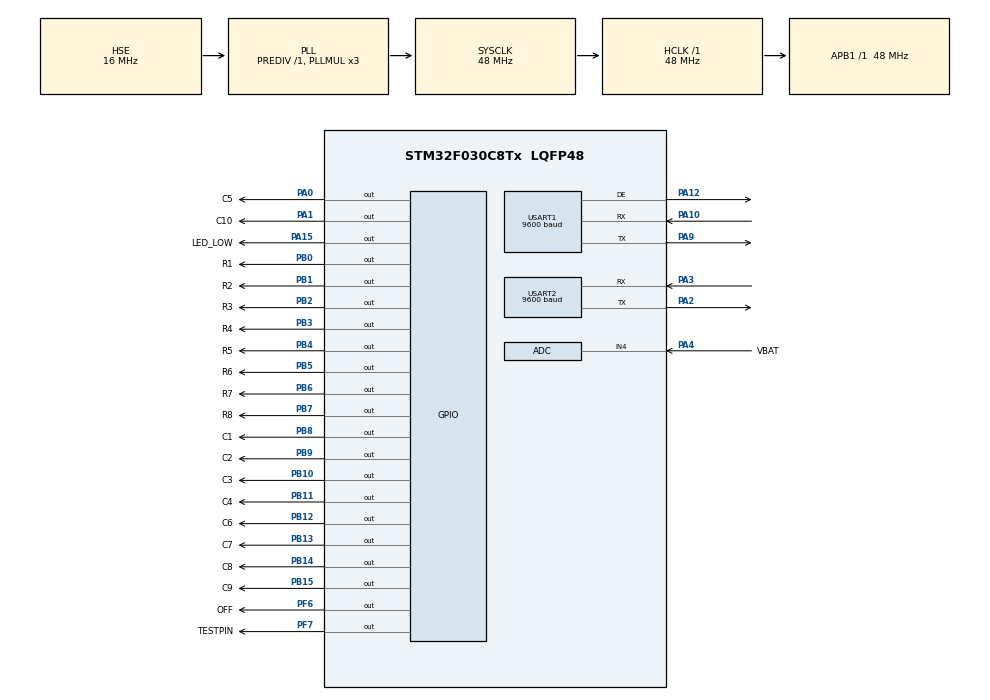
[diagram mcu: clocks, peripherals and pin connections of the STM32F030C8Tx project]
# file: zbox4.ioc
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ADC.ClockPrescaler=ADC_CLOCK_ASYNC_DIV1
ADC.SamplingTime=ADC_SAMPLETIME_239CYCLES_5
Mcu.Family=STM32F0
Mcu.Name=STM32F030C8Tx
Mcu.Package=LQFP48
NVIC.TIM15_IRQn=true\:0\:0\:false\:false\:true\:true\:true\:true
NVIC.TIM3_IRQn=true\:0\:0\:false\:false\:true\:true\:true\:true
NVIC.TIM6_IRQn=true\:0\:0\:false\:false\:true\:true\:true\:true
NVIC.USART1_IRQn=true\:0\:0\:false\:false\:true\:true\:true\:true
NVIC.USART2_IRQn=true\:0\:0\:false\:false\:true\:true\:true\:true
PA0.GPIO_Label=C5
PA0.Signal=GPIO_Output
PA1.GPIO_Label=C10
PA1.Signal=GPIO_Output
PA10.Mode=Asynchronous
PA10.Signal=USART1_RX
PA12.Mode=Hardware Flow Control (RS485)
PA12.Signal=USART1_DE
PA13.Mode=Serial_Wire
PA13.Signal=SYS_SWDIO
PA14.Mode=Serial_Wire
PA14.Signal=SYS_SWCLK
PA15.GPIO_Label=LED_LOW
PA15.Signal=GPIO_Output
PA2.Mode=Asynchronous
PA2.Signal=USART2_TX
PA3.Mode=Asynchronous
PA3.Signal=USART2_RX
PA4.GPIO_Label=VBAT
PA4.Mode=IN4
PA4.Signal=ADC_IN4
PA9.Mode=Asynchronous
PA9.Signal=USART1_TX
PB0.GPIO_Label=R1
PB0.Signal=GPIO_Output
PB1.GPIO_Label=R2
PB1.Signal=GPIO_Output
PB10.GPIO_Label=C3
PB10.Signal=GPIO_Output
PB11.GPIO_Label=C4
PB11.Signal=GPIO_Output
PB12.GPIO_Label=C6
PB12.Signal=GPIO_Output
PB13.GPIO_Label=C7
PB13.Signal=GPIO_Output
PB14.GPIO_Label=C8
PB14.Signal=GPIO_Output
PB15.GPIO_Label=C9
PB15.Signal=GPIO_Output
PB2.GPIO_Label=R3
PB2.Signal=GPIO_Output
PB3.GPIO_Label=R4
PB3.Signal=GPIO_Output
PB4.GPIO_Label=R5
PB4.Signal=GPIO_Output
PB5.GPIO_Label=R6
PB5.Signal=GPIO_Output
PB6.GPIO_Label=R7
PB6.Signal=GPIO_Output
PB7.GPIO_Label=R8
PB7.Signal=GPIO_Output
PB8.GPIO_Label=C1
PB8.Signal=GPIO_Output
PB9.GPIO_Label=C2
PB9.Signal=GPIO_Output
PF0-OSC_IN.Mode=HSE-External-Oscillator
PF0-OSC_IN.Signal=RCC_OSC_IN
PF1-OSC_OUT.Mode=HSE-External-Oscillator
PF1-OSC_OUT.Signal=RCC_OSC_OUT
PF6.GPIO_Label=OFF
PF6.GPIO_ModeDefaultOutputPP=GPIO_MODE_OUTPUT_OD
PF6.PinState=GPIO_PIN_SET
PF6.Signal=GPIO_Output
PF7.GPIO_Label=TESTPIN
PF7.Signal=GPIO_Output
ProjectManager.HeapSize=0x200
ProjectManager.StackSize=0x400
ProjectManager.TargetToolchain=STM32CubeIDE
RCC.AHBFreq_Value=48000000
RCC.APB1Freq_Value=48000000
RCC.APB1TimFreq_Value=48000000
RCC.HCLKFreq_Value=48000000
RCC.HSE_VALUE=16000000
RCC.PLLMUL=RCC_PLL_MUL3
RCC.PLLSourceVirtual=RCC_PLLSOURCE_HSE
RCC.SYSCLKFreq_VALUE=48000000
RCC.SYSCLKSource=RCC_SYSCLKSOURCE_PLLCLK
TIM1.CounterMode=TIM_COUNTERMODE_UP
TIM1.Period=1000
TIM1.Prescaler=480
TIM1.TIM_MasterOutputTrigger=TIM_TRGO_UPDATE
TIM15.Period=10000-1
TIM15.Prescaler=480
TIM15.TIM_MasterOutputTrigger=TIM_TRGO_UPDATE
TIM3.Period=10000-1
TIM3.Prescaler=480
TIM3.TIM_MasterOutputTrigger=TIM_TRGO_UPDATE
TIM6.Period=10-1
TIM6.Prescaler=4800
USART1.BaudRate=9600
USART1.VirtualMode-Asynchronous=VM_ASYNC
USART1.VirtualMode-Hardware\ Flow\ Control\ (RS485)=VM_ASYNC
USART2.BaudRate=9600
USART2.VirtualMode-Asynchronous=VM_ASYNC
VP_TIM15_VS_ClockSourceINT.Mode=Internal
VP_TIM1_VS_ClockSourceINT.Mode=Internal
VP_TIM3_VS_ClockSourceINT.Mode=Internal
VP_TIM6_VS_ClockSourceINT.Mode=Enable_Timer
board=custom

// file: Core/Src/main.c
/* USER CODE BEGIN Header */
/**
  ******************************************************************************
  * @file           : main.c
  * @brief          : Main program body
  ******************************************************************************
  * @attention
  *
  * <h2><center>&copy; Copyright (c) 2023 STMicroelectronics.
  * All rights reserved.</center></h2>
  *
  * This software component is licensed by ST under BSD 3-Clause license,
  * the "License"; You may not use this file except in compliance with the
  * License. You may obtain a copy of the License at:
  *                        opensource.org/licenses/BSD-3-Clause
  *
  ******************************************************************************
  */
/* USER CODE END Header */
#include "main.h"

/* USER CODE BEGIN Includes */
#define NUMZONDES 5//4 или 5, 4 сдвиигает емкости
#define VREF 332 //%100
#define VLOW 290
#define IDLETIME 30 //в минутах
#define FLASH_ADDR_SETTINGS 0x0800F618 //адрес куда будем писать Z (256 байт)
#include "string.h"
#include "stdio.h"
#include <complex.h>
/* USER CODE END Includes */

ADC_HandleTypeDef hadc;

TIM_HandleTypeDef htim1;
TIM_HandleTypeDef htim3;
TIM_HandleTypeDef htim6;
TIM_HandleTypeDef htim15;

UART_HandleTypeDef huart1;
UART_HandleTypeDef huart2;

/* USER CODE BEGIN PV */
volatile uint8_t bCmdFlag = 0, bCmdFlag2 = 0;
volatile uint64_t iOFFTime = IDLETIME*60*1000;//ввремя выключения в мс
volatile uint64_t Now = 0;
int iRes = 0, iCap = 0, iEnable = 0;
uint8_t args;
char str[64];
char str2[64];
int iZIndex;
float fRe, fIm;
typedef struct
{
	float Re;
	float Im;
}TZ;

typedef struct
{
	TZ Z[32];
	uint32_t SGN;
}TSettings;

TSettings Settings;

typedef struct
{
	float Re;
	float Im;
} complex_float;

complex_float cplxf(float complex src)
{
	complex_float res;
	res.Re = crealf(src);
	res.Im = cimagf(src);
	return res;
}
//-------------------------------------------------------------------------------------------
float complex CMPLXF(float re, float im)
{
  return re+im*I;
}

/* USER CODE END PV */

void SystemClock_Config(void);
static void MX_GPIO_Init(void);
static void MX_USART1_UART_Init(void);
static void MX_TIM1_Init(void);
static void MX_TIM3_Init(void);
static void MX_USART2_UART_Init(void);
static void MX_TIM15_Init(void);
static void MX_ADC_Init(void);
static void MX_TIM6_Init(void);

/* USER CODE BEGIN 0 */

//-------------------------------------------------------------------------------------------
void HAL_TIM_PeriodElapsedCallback(TIM_HandleTypeDef *htim)
{
	if(htim->Instance == TIM3) //100ms на завершение команды
	{
		HAL_TIM_Base_Stop_IT(&htim3);
		n_bytes = 0;
	}
	if(htim->Instance == TIM15) //100ms на завершение команды
	{
		HAL_TIM_Base_Stop_IT(&htim15);
		n_bytes2 = 0;
	}
	if(htim->Instance == TIM6)
	{
		Now++;
	}
	//HAL_GPIO_TogglePin(GPIOB, GPIO_PIN_8);
}
//-------------------------------------------------------------------------------------------
int SetR(int R)
{
	HAL_GPIO_WritePin(R1_GPIO_Port, R1_Pin, 0);
	HAL_GPIO_WritePin(R2_GPIO_Port, R2_Pin, 0);
	HAL_GPIO_WritePin(R3_GPIO_Port, R3_Pin, 0);
	HAL_GPIO_WritePin(R4_GPIO_Port, R4_Pin, 0);
	HAL_GPIO_WritePin(R5_GPIO_Port, R5_Pin, 0);
	HAL_GPIO_WritePin(R6_GPIO_Port, R6_Pin, 0);
	HAL_GPIO_WritePin(R7_GPIO_Port, R7_Pin, 0);
	HAL_GPIO_WritePin(R8_GPIO_Port, R8_Pin, 0);

	if(R == 0)
		return 1; //ok
	else if(R == 1)
		HAL_GPIO_WritePin(R1_GPIO_Port, R1_Pin, 1);
	else if(R == 2)
		HAL_GPIO_WritePin(R2_GPIO_Port, R2_Pin, 1);
	else if(R == 3)
		HAL_GPIO_WritePin(R3_GPIO_Port, R3_Pin, 1);
	else if(R == 4)
		HAL_GPIO_WritePin(R4_GPIO_Port, R4_Pin, 1);
	else if(R == 5)
		HAL_GPIO_WritePin(R5_GPIO_Port, R5_Pin, 1);
	else if(R == 6)
		HAL_GPIO_WritePin(R6_GPIO_Port, R6_Pin, 1);
	else if(R == 7)
		HAL_GPIO_WritePin(R7_GPIO_Port, R7_Pin, 1);
	else if(R == 8)
		HAL_GPIO_WritePin(R8_GPIO_Port, R8_Pin, 1);
	else
		return 0; //error

	return 1; //ok
}
//-------------------------------------------------------------------------------------------
int SetC(int Cap)
{
	int C = Cap;
	HAL_GPIO_WritePin(C1_GPIO_Port, C1_Pin, 0);
	HAL_GPIO_WritePin(C2_GPIO_Port, C2_Pin, 0);
	HAL_GPIO_WritePin(C3_GPIO_Port, C3_Pin, 0);
	HAL_GPIO_WritePin(C4_GPIO_Port, C4_Pin, 0);
	HAL_GPIO_WritePin(C5_GPIO_Port, C5_Pin, 0);
	HAL_GPIO_WritePin(C6_GPIO_Port, C6_Pin, 0);
	HAL_GPIO_WritePin(C7_GPIO_Port, C7_Pin, 0);
	HAL_GPIO_WritePin(C8_GPIO_Port, C8_Pin, 0);
	HAL_GPIO_WritePin(C9_GPIO_Port, C9_Pin, 0);
	HAL_GPIO_WritePin(C10_GPIO_Port, C10_Pin, 0);

	if(NUMZONDES==4)
	{
		if(C>4)
			C=C+1;
	}

	if(C == 0)
		return 1; //ok
	else if(C == 1)
		HAL_GPIO_WritePin(C1_GPIO_Port, C1_Pin, 1);
	else if(C == 2)
		HAL_GPIO_WritePin(C2_GPIO_Port, C2_Pin, 1);
	else if(C == 3)
		HAL_GPIO_WritePin(C3_GPIO_Port, C3_Pin, 1);
	else if(C == 4)
		HAL_GPIO_WritePin(C4_GPIO_Port, C4_Pin, 1);
	else if(C == 5)
		HAL_GPIO_WritePin(C5_GPIO_Port, C5_Pin, 1);
	else if(C == 6)
		HAL_GPIO_WritePin(C6_GPIO_Port, C6_Pin, 1);
	else if(C == 7)
		HAL_GPIO_WritePin(C7_GPIO_Port, C7_Pin, 1);
	else if(C == 8)
		HAL_GPIO_WritePin(C8_GPIO_Port, C8_Pin, 1);
	else if(C == 9)
		HAL_GPIO_WritePin(C9_GPIO_Port, C9_Pin, 1);
	else if(C == 10)
		HAL_GPIO_WritePin(C10_GPIO_Port, C10_Pin, 1);
	else
		return 0; //error

	return 1; //ok
}
//-------------------------------------------------------------------------------------------
void LoadSettings(void)
{
	uint32_t addr = FLASH_ADDR_SETTINGS;
	uint32_t sz = sizeof(Settings);
	uint32_t *dataPtr = (uint32_t *)&Settings;
	for (int i = 0; i < sz / 4; i++)
	{
		dataPtr[i] = *(__IO uint32_t*)addr;
		addr += 4;
	}
}
//-------------------------------------------------------------------------------------------
uint8_t SaveSettings(void)
{
	uint32_t addr = FLASH_ADDR_SETTINGS;
	HAL_StatusTypeDef status;
	uint32_t sz = sizeof(Settings);          // замеряем размер структуры
	FLASH_EraseInitTypeDef FlashErase;                     // структура для функции стирания страницы
	uint32_t pageError = 0;                                // переменная для записи информации об ошибках в процессе стирания

	__disable_irq();                                       // запрещаем прерывания
	HAL_FLASH_Unlock();
	FlashErase.TypeErase = FLASH_TYPEERASE_PAGES;          // стирать постранично
	FlashErase.PageAddress = addr;                         // адрес страницы для стирания
	FlashErase.NbPages = sz/1024 + 1;         // считаем количество страниц, чтобы наш массив поместился
	if (HAL_FLASHEx_Erase(&FlashErase, &pageError) != HAL_OK)   // вызов функции стирания
	{
		HAL_FLASH_Lock();                                  // если не смог стереть, то закрыть память и вернуть ошибку
		return HAL_ERROR;
	}

    uint32_t *dataPtr = (uint32_t *)&Settings;          // создаем указатель на нашу структуру и записываем ее кусочками по 32 бита
	for(int i = 0; i < sz/4; i++)            // 4 байта = 32 бита
    {
		status += HAL_FLASH_Program(FLASH_TYPEPROGRAM_WORD, addr, dataPtr[i]);
        addr += 4;                                         // сдвигаем адрес на 4 байта
    }
	__enable_irq();                                        // включаем прерывания обратно
	return status;
}
//-------------------------------------------------------------------------------------------
void CycleC()
{
	uint8_t R = 0;
	uint8_t C = 0;
	static uint8_t i = 0;

	if(NUMZONDES==4) //с пропуском
	{
		if(i++ < 22)
		{
			if(i == 0)
			{
				R = 0;
				C = 0;
			}
			else if(i == 1)
			{
				R = 1;
				C = 1;
			}
			else if(i == 2)
			{
				R = 1;
				C = 2;
			}
			else if(i == 3)
			{
				R = 1;
				C = 3;
			}
			else if(i == 4)
			{
				R = 1;
				C = 4;
			}
			else if(i == 5)
			{
				R = 2;
				C = 4;
			}
			else if(i == 6)
			{
				R = 3;
				C = 4;
			}
			else if(i == 7)
			{
				R = 4;
				C = 4;
			}
			else if(i == 8)
			{
				R = 5;
				C = 4;
			}
			else if(i == 9)
			{
				R = 6;
				C = 4;
			}
			else if(i == 10)
			{
				R = 7;
				C = 4;
			}
			else if(i == 11)
			{
				R = 8;
				C = 4;
			}

			else if(i == 12) //частота 2
			{
				R = 1;
				C = 5;
			}
			else if(i == 13)
			{
				R = 1;
				C = 6;
			}
			else if(i == 14)
			{
				R = 1;
				C = 7;
			}
			else if(i == 15)
			{
				R = 1;
				C = 8;
			}
			else if(i == 16)
			{
				R = 2;
				C = 8;
			}
			else if(i == 17)
			{
				R = 3;
				C = 8;
			}
			else if(i == 18)
			{
				R = 4;
				C = 8;
			}
			else if(i == 19)
			{
				R = 5;
				C = 8;
			}
			else if(i == 20)
			{
				R = 6;
				C = 8;
			}
			else if(i == 21)
			{
				R = 7;
				C = 8;
			}
			else if(i == 22)
			{
				R = 8;
				C = 8;
			}

		}
		else
		{
			R = 0;
			C = 0;
			i = 0;
		}

	}
	else //без пропуска
	{
		if(i++ < 24)
		{
			if(i == 0)
			{
				R = 0;
				C = 0;
			}
			else if(i == 1)
			{
				R = 1;
				C = 1;
			}
			else if(i == 2)
			{
				R = 1;
				C = 2;
			}
			else if(i == 3)
			{
				R = 1;
				C = 3;
			}
			else if(i == 4)
			{
				R = 1;
				C = 4;
			}
			else if(i == 5)
			{
				R = 1;
				C = 5;
			}
			else if(i == 6)
			{
				R = 2;
				C = 4;
			}
			else if(i == 7)
			{
				R = 3;
				C = 4;
			}
			else if(i == 8)
			{
				R = 4;
				C = 4;
			}
			else if(i == 9)
			{
				R = 5;
				C = 4;
			}
			else if(i == 10)
			{
				R = 6;
				C = 4;
			}
			else if(i == 11)
			{
				R = 7;
				C = 4;
			}

			else if(i == 12)
			{
				R = 8;
				C = 4;
			}
			else if(i == 13) //частота 2
			{
				R = 1;
				C = 6;
			}
			else if(i == 14)
			{
				R = 1;
				C = 7;
			}
			else if(i == 15)
			{
				R = 1;
				C = 8;
			}
			else if(i == 16)
			{
				R = 1;
				C = 9;
			}
			else if(i == 17)
			{
				R = 1;
				C = 10;
			}
			else if(i == 18)
			{
				R = 2;
				C = 9;
			}
			else if(i == 19)
			{
				R = 3;
				C = 9;
			}
			else if(i == 20)
			{
				R = 4;
				C = 9;
			}
			else if(i == 21)
			{
				R = 5;
				C = 9;
			}
			else if(i == 22)
			{
				R = 6;
				C = 9;
			}
			else if(i == 23)
			{
				R = 7;
				C = 9;
			}
			else if(i == 24)
			{
				R = 8;
				C = 9;
			}

		}
		else
		{
			R = 0;
			C = 0;
			i = 0;
		}
	}

	SetC(C);
	SetR(R);
}
//-------------------------------------------------------------------------------------------
/* USER CODE END 0 */

int main(void)
{
  /* USER CODE BEGIN 1 */
	uint32_t vbat;
	uint8_t bPressed = 0;
	uint8_t bCycled = 1;
	uint64_t ButtonTime = 0;
	uint32_t adc_value = 0;

  /* USER CODE END 1 */

  /* MCU Configuration--------------------------------------------------------*/

  /* Reset of all peripherals, Initializes the Flash interface and the Systick. */
  HAL_Init();

  /* Configure the system clock */
  SystemClock_Config();

  /* Initialize all configured peripherals */
  MX_GPIO_Init();
  MX_USART1_UART_Init();
  MX_TIM1_Init();
  MX_TIM3_Init();
  MX_USART2_UART_Init();
  MX_TIM15_Init();
  MX_ADC_Init();
  MX_TIM6_Init();
  /* USER CODE BEGIN 2 */

  HAL_TIM_Base_Start(&htim1);
  HAL_TIM_Base_Start_IT(&htim3);
  HAL_TIM_Base_Start_IT(&htim6);
  HAL_TIM_Base_Start_IT(&htim15);

  SetR(0);
  SetC(0);

  HAL_UART_Receive_IT(&huart1, (uint8_t*)&RxBuffer, 1); //по 1 байту
  HAL_UART_Receive_IT(&huart2, (uint8_t*)&RxBuffer2, 1); //по 1 байту

  /* USER CODE END 2 */

  /* Infinite loop */
  /* USER CODE BEGIN WHILE */

LoadSettings();

  iOFFTime = IDLETIME*60*1000;

  while (1)
  {
    /* USER CODE END WHILE */

    /* USER CODE BEGIN 3 */
	adc_value = 0;
	for(uint8_t i=0;i<16;i++)
	{
		HAL_ADC_Start(&hadc);
		HAL_ADC_PollForConversion(&hadc, HAL_MAX_DELAY);
		adc_value += HAL_ADC_GetValue(&hadc);
		HAL_ADC_Stop(&hadc);
	}
	adc_value = adc_value>>4;

	vbat = (adc_value*VREF)>>11;//%2

	if(Now > iOFFTime) //Авто-выкл. после 30 мин простоя
		HAL_GPIO_WritePin(OFF_GPIO_Port, OFF_Pin, 0);
	else
		HAL_GPIO_WritePin(OFF_GPIO_Port, OFF_Pin, 1);

	if(vbat < VLOW) //светодиод LOW BAT
		HAL_GPIO_WritePin(LED_LOW_GPIO_Port, LED_LOW_Pin, 1);
	else
		HAL_GPIO_WritePin(LED_LOW_GPIO_Port, LED_LOW_Pin, 0);

	//кнопка
	if(Now > 500) //время на вкл. питания
	{
		if(adc_value > 3600)
		{
			if(!bPressed)
			{
				bPressed = 1;
				ButtonTime = Now;
			}
			else //было нажато
			{
				if(ButtonTime+50 < Now && !bCycled) //еще раз проверяем (анти-дребезг)
				{
					CycleC();
					iOFFTime = Now + IDLETIME*60*1000;
					ButtonTime = Now+200;
					bCycled = 1;
				}
			}

		}
		else
		{
			bPressed = 0;
			bCycled = 0;
		}
	}

		//обработка команд
	    if(bCmdFlag) //RS-485
	    {
	    	bCmdFlag = 0;
			iOFFTime = Now + IDLETIME*60*1000;
			  if(cmdBuf[0] == 'V' && cmdBuf[1] == 'B' && cmdBuf[2] == 'A' && cmdBuf[3] == 'T') //VBAT
			  {
				  sprintf(str, "VBAT=%d\r\n", (uint16_t)vbat);
				  SendString(str);

				memset(cmdBuf, 0x00, RX_BUFFER_SIZE);
			  }
			  else if(cmdBuf[0] == 'O' && cmdBuf[1] == 'F' && cmdBuf[2] == 'F') //OFF
			  {
				HAL_GPIO_WritePin(OFF_GPIO_Port, OFF_Pin, 0);
				memset(cmdBuf, 0x00, RX_BUFFER_SIZE);
			  }
			  else if(cmdBuf[0] == 'R' && cmdBuf[1] == 'E' && cmdBuf[2] == 'S' && cmdBuf[3] == ' ') //RES
			  {
				args = sscanf(cmdBuf, "RES %d\r\n", &iRes);
				if(args == 1 && iRes >= 0 && iRes < 9)
				{
				  SetR(iRes);
				  sprintf(str, "RES=%d OK!\r\n", iRes);
				  SendString(str);
				}
				else
				{
				  SendString("Error!\r\n");
				}
				memset(cmdBuf, 0x00, RX_BUFFER_SIZE);
			  }
			  else if(cmdBuf[0] == 'C' && cmdBuf[1] == 'A' && cmdBuf[2] == 'P' && cmdBuf[3] == ' ') //CAP
			  {
				args = sscanf(cmdBuf, "CAP %d\r\n", &iCap);
				if(args == 1 && iCap >= 0 && iCap < 11)
				{
				  SetC(iCap);
				  sprintf(str, "CAP=%d OK!\r\n", iCap);
				  SendString(str);
				}
				else
				{
				  SendString("Error!\r\n");
				}
				memset(cmdBuf, 0x00, RX_BUFFER_SIZE);
			  }
			  else if(cmdBuf[0] == 'Z' && cmdBuf[1] == 'W' && cmdBuf[2] == 'R' && cmdBuf[3] == 'I' && cmdBuf[4] == 'T' && cmdBuf[5] == 'E') //ZWRITE
			  {
				args = sscanf(cmdBuf, "ZWRITE %d %f %f\r\n", &iZIndex, &fRe, &fIm);
				if(args == 3 && iZIndex >= 0 && iZIndex < 32)
				{
				  LoadSettings();
				  Settings.Z[iZIndex].Re = fRe;
				  Settings.Z[iZIndex].Im = fIm;
				  SaveSettings();
				  sprintf(str, "WRITE Z%d OK!\r\n", iZIndex);
				  SendString(str);
				}
				else
				{
				  SendString("Error!\r\n");
				}
				memset(cmdBuf, 0x00, RX_BUFFER_SIZE);
			  }
			  else if(cmdBuf[0] == 'Z' && cmdBuf[1] == 'R' && cmdBuf[2] == 'E' && cmdBuf[3] == 'A' && cmdBuf[4] == 'D') //ZREAD
			  {
				args = sscanf(cmdBuf, "ZREAD %d\r\n", &iZIndex);
				if(args == 1 && iZIndex >= 0 && iZIndex < 32)
				{
				  LoadSettings();
				  sprintf(str, "Z%d %f %f\r\n", iZIndex, Settings.Z[iZIndex].Re, Settings.Z[iZIndex].Im);
				  SendString(str);
				}
				else
				{
				  SendString("Error!\r\n");
				}
				memset(cmdBuf, 0x00, RX_BUFFER_SIZE);
			  }
			  else if(cmdBuf[0] == 'Z' && cmdBuf[1] == 'E' && cmdBuf[2] == 'R' && cmdBuf[3] == 'A' && cmdBuf[4] == 'S' && cmdBuf[5] == 'E') //ZERASE
			  {
				for(int i=0;i<32;i++)
				{
					Settings.Z[i].Im = 0;
					Settings.Z[i].Re = 0;
				}
				SaveSettings();
				SendString("ERASE OK!\r\n");
				memset(cmdBuf, 0x00, RX_BUFFER_SIZE);
			  }
			  else if(cmdBuf[0] == 'S' && cmdBuf[1] == 'G' && cmdBuf[2] == 'R' && cmdBuf[3] == 'E' && cmdBuf[4] == 'A' && cmdBuf[5] == 'D') //SGREAD
			  {
				  sprintf(str, "SG=%lu\r\n", Settings.SGN);
				  SendString(str);
			  }
			  else if(cmdBuf[0] == 'S' && cmdBuf[1] == 'G' && cmdBuf[2] == 'W' && cmdBuf[3] == 'R' && cmdBuf[4] == 'I' && cmdBuf[5] == 'T' && cmdBuf[6] == 'E') //SGWRITE
			  {
				  args = sscanf(cmdBuf, "SGWRITE %lu\r\n", &Settings.SGN);
				  SaveSettings();
				  sprintf(str, "WRITE SGN=%lu OK!\r\n", Settings.SGN);
				  SendString(str);
			  }
			  else
			  {
				memset(cmdBuf, 0x00, RX_BUFFER_SIZE);
				SendString("Unknown command!\r\n");
			  }
	    }
	    if(bCmdFlag2) //ВТ
	    {
	    	iOFFTime = Now + IDLETIME*60*1000;
				 if(cmdBuf2[0] == 'V' && cmdBuf2[1] == 'B' && cmdBuf2[2] == 'A' && cmdBuf2[3] == 'T') //VBAT
				 {
					  sprintf(str2, "VBAT=%d\r\n", (uint16_t)vbat);
					  SendString2(str2);

					memset(cmdBuf2, 0x00, RX_BUFFER_SIZE);
					bCmdFlag = 0;
				 }
				 else if(cmdBuf2[0] == 'O' && cmdBuf2[1] == 'F' && cmdBuf2[2] == 'F') //OFF
				 {
					HAL_GPIO_WritePin(OFF_GPIO_Port, OFF_Pin, 0);
					memset(cmdBuf2, 0x00, RX_BUFFER_SIZE);
					bCmdFlag = 0;
				 }
				 else if(cmdBuf2[0] == 'R' && cmdBuf2[1] == 'E' && cmdBuf2[2] == 'S' && cmdBuf2[3] == ' ') //RES
	    	      {
	    	    	args = sscanf(cmdBuf2, "RES %d\r\n", &iRes);
	    			if(args == 1 && iRes >= 0 && iRes < 9)
	    			{
	    			  SetR(iRes);
	    			  sprintf(str2, "RES=%d OK!\r\n", iRes);
	    			  SendString2(str2);
	    			}
	    			else
	    			{
	    			  SendString2("Error!\r\n");
	    			}
	    			memset(cmdBuf2, 0x00, RX_BUFFER_SIZE);
	    			bCmdFlag2 = 0;
	    	      }
	    	      else if(cmdBuf2[0] == 'C' && cmdBuf2[1] == 'A' && cmdBuf2[2] == 'P' && cmdBuf2[3] == ' ') //CAP
	    		  {
	    			args = sscanf(cmdBuf2, "CAP %d\r\n", &iCap);
	    			if(args == 1 && iCap >= 0 && iCap < 11)
	    			{
	    			  SetC(iCap);
	    			  sprintf(str2, "CAP=%d OK!\r\n", iCap);
	    			  SendString2(str2);
	    			}
	    			else
	    			{
	    			  SendString2("Error!\r\n");
	    			}
	    			memset(cmdBuf2, 0x00, RX_BUFFER_SIZE);
	    			bCmdFlag2 = 0;
	    		  }
	    	      else if(cmdBuf2[0] == 'Z' && cmdBuf2[1] == 'W' && cmdBuf2[2] == 'R' && cmdBuf2[3] == 'I' && cmdBuf2[4] == 'T' && cmdBuf2[5] == 'E') //ZWRITE
	    		  {
	    			args = sscanf(cmdBuf2, "ZWRITE %d %f %f\r\n", &iZIndex, &fRe, &fIm);
	    			if(args == 3 && iZIndex >= 0 && iZIndex < 32)
	    			{
	    			  LoadSettings();
	    			  Settings.Z[iZIndex].Re = fRe;
	    			  Settings.Z[iZIndex].Im = fIm;
	    			  SaveSettings();
	    			  sprintf(str2, "WRITE Z%d OK!\r\n", iZIndex);
	    			  SendString2(str2);
	    			}
	    			else
	    			{
	    			  SendString2("Error!\r\n");
	    			}
	    			memset(cmdBuf2, 0x00, RX_BUFFER_SIZE);
	    			bCmdFlag2 = 0;
	    		  }
	    	      else if(cmdBuf2[0] == 'Z' && cmdBuf2[1] == 'R' && cmdBuf2[2] == 'E' && cmdBuf2[3] == 'A' && cmdBuf2[4] == 'D') //ZREAD
	    		  {
	    			args = sscanf(cmdBuf2, "ZREAD %d\r\n", &iZIndex);
	    			if(args == 1 && iZIndex >= 0 && iZIndex < 32)
	    			{
	    			  LoadSettings();
	    			  sprintf(str2, "Z%d %f %f\r\n", iZIndex, Settings.Z[iZIndex].Re, Settings.Z[iZIndex].Im);
	    			  SendString2(str2);
	    			}
	    			else
	    			{
	    			  SendString2("Error!\r\n");
	    			}
	    			memset(cmdBuf2, 0x00, RX_BUFFER_SIZE);
	    			bCmdFlag2 = 0;
	    		  }
	    	      else if(cmdBuf2[0] == 'Z' && cmdBuf2[1] == 'E' && cmdBuf2[2] == 'R' && cmdBuf2[3] == 'A' && cmdBuf2[4] == 'S' && cmdBuf2[5] == 'E') //ZERASE
	    		  {
	    	    	for(int i=0;i<32;i++)
	    	    	{
	    	    		Settings.Z[i].Im = 0;
	    	    		Settings.Z[i].Re = 0;
	    	    	}
	    	    	SaveSettings();
	    	    	SendString2("ERASE OK!\r\n");
	    			memset(cmdBuf2, 0x00, RX_BUFFER_SIZE);
	    			bCmdFlag2 = 0;
	    		  }
	    	      else
	    	      {
	    	        memset(cmdBuf2, 0x00, RX_BUFFER_SIZE);
	    	        bCmdFlag2 = 0;
	    	        SendString2("Unknown command!\r\n");
	    	      }
	    	    }
  }
  /* USER CODE END 3 */
}

void SystemClock_Config(void)
{
  RCC_OscInitTypeDef RCC_OscInitStruct = {0};
  RCC_ClkInitTypeDef RCC_ClkInitStruct = {0};
  RCC_PeriphCLKInitTypeDef PeriphClkInit = {0};

  /** Initializes the RCC Oscillators according to the specified parameters
  * in the RCC_OscInitTypeDef structure.
  */
  RCC_OscInitStruct.OscillatorType = RCC_OSCILLATORTYPE_HSI14|RCC_OSCILLATORTYPE_HSE;
  RCC_OscInitStruct.HSEState = RCC_HSE_ON;
  RCC_OscInitStruct.HSI14State = RCC_HSI14_ON;
  RCC_OscInitStruct.HSI14CalibrationValue = 16;
  RCC_OscInitStruct.PLL.PLLState = RCC_PLL_ON;
  RCC_OscInitStruct.PLL.PLLSource = RCC_PLLSOURCE_HSE;
  RCC_OscInitStruct.PLL.PLLMUL = RCC_PLL_MUL3;
  RCC_OscInitStruct.PLL.PREDIV = RCC_PREDIV_DIV1;
  if (HAL_RCC_OscConfig(&RCC_OscInitStruct) != HAL_OK)
  {
    Error_Handler();
  }
  /** Initializes the CPU, AHB and APB buses clocks
  */
  RCC_ClkInitStruct.ClockType = RCC_CLOCKTYPE_HCLK|RCC_CLOCKTYPE_SYSCLK
                              |RCC_CLOCKTYPE_PCLK1;
  RCC_ClkInitStruct.SYSCLKSource = RCC_SYSCLKSOURCE_PLLCLK;
  RCC_ClkInitStruct.AHBCLKDivider = RCC_SYSCLK_DIV1;
  RCC_ClkInitStruct.APB1CLKDivider = RCC_HCLK_DIV1;

  if (HAL_RCC_ClockConfig(&RCC_ClkInitStruct, FLASH_LATENCY_1) != HAL_OK)
  {
    Error_Handler();
  }
  PeriphClkInit.PeriphClockSelection = RCC_PERIPHCLK_USART1;
  PeriphClkInit.Usart1ClockSelection = RCC_USART1CLKSOURCE_PCLK1;
  if (HAL_RCCEx_PeriphCLKConfig(&PeriphClkInit) != HAL_OK)
  {
    Error_Handler();
  }
}

static void MX_ADC_Init(void)
{

  ADC_ChannelConfTypeDef sConfig = {0};

  /** Configure the global features of the ADC (Clock, Resolution, Data Alignment and number of conversion)
  */
  hadc.Instance = ADC1;
  hadc.Init.ClockPrescaler = ADC_CLOCK_ASYNC_DIV1;
  hadc.Init.Resolution = ADC_RESOLUTION_12B;
  hadc.Init.DataAlign = ADC_DATAALIGN_RIGHT;
  hadc.Init.ScanConvMode = ADC_SCAN_DIRECTION_FORWARD;
  hadc.Init.EOCSelection = ADC_EOC_SINGLE_CONV;
  hadc.Init.LowPowerAutoWait = DISABLE;
  hadc.Init.LowPowerAutoPowerOff = DISABLE;
  hadc.Init.ContinuousConvMode = DISABLE;
  hadc.Init.DiscontinuousConvMode = DISABLE;
  hadc.Init.ExternalTrigConv = ADC_SOFTWARE_START;
  hadc.Init.ExternalTrigConvEdge = ADC_EXTERNALTRIGCONVEDGE_NONE;
  hadc.Init.DMAContinuousRequests = DISABLE;
  hadc.Init.Overrun = ADC_OVR_DATA_PRESERVED;
  if (HAL_ADC_Init(&hadc) != HAL_OK)
  {
    Error_Handler();
  }
  /** Configure for the selected ADC regular channel to be converted.
  */
  sConfig.Channel = ADC_CHANNEL_4;
  sConfig.Rank = ADC_RANK_CHANNEL_NUMBER;
  sConfig.SamplingTime = ADC_SAMPLETIME_239CYCLES_5;
  if (HAL_ADC_ConfigChannel(&hadc, &sConfig) != HAL_OK)
  {
    Error_Handler();
  }

}

static void MX_TIM1_Init(void)
{

  TIM_ClockConfigTypeDef sClockSourceConfig = {0};
  TIM_MasterConfigTypeDef sMasterConfig = {0};

  htim1.Instance = TIM1;
  htim1.Init.Prescaler = 480;
  htim1.Init.CounterMode = TIM_COUNTERMODE_UP;
  htim1.Init.Period = 1000;
  htim1.Init.ClockDivision = TIM_CLOCKDIVISION_DIV1;
  htim1.Init.RepetitionCounter = 0;
  htim1.Init.AutoReloadPreload = TIM_AUTORELOAD_PRELOAD_DISABLE;
  if (HAL_TIM_Base_Init(&htim1) != HAL_OK)
  {
    Error_Handler();
  }
  sClockSourceConfig.ClockSource = TIM_CLOCKSOURCE_INTERNAL;
  if (HAL_TIM_ConfigClockSource(&htim1, &sClockSourceConfig) != HAL_OK)
  {
    Error_Handler();
  }
  sMasterConfig.MasterOutputTrigger = TIM_TRGO_UPDATE;
  sMasterConfig.MasterSlaveMode = TIM_MASTERSLAVEMODE_DISABLE;
  if (HAL_TIMEx_MasterConfigSynchronization(&htim1, &sMasterConfig) != HAL_OK)
  {
    Error_Handler();
  }

}

static void MX_TIM3_Init(void)
{

  TIM_ClockConfigTypeDef sClockSourceConfig = {0};
  TIM_MasterConfigTypeDef sMasterConfig = {0};

  htim3.Instance = TIM3;
  htim3.Init.Prescaler = 480;
  htim3.Init.CounterMode = TIM_COUNTERMODE_UP;
  htim3.Init.Period = 10000-1;
  htim3.Init.ClockDivision = TIM_CLOCKDIVISION_DIV1;
  htim3.Init.AutoReloadPreload = TIM_AUTORELOAD_PRELOAD_DISABLE;
  if (HAL_TIM_Base_Init(&htim3) != HAL_OK)
  {
    Error_Handler();
  }
  sClockSourceConfig.ClockSource = TIM_CLOCKSOURCE_INTERNAL;
  if (HAL_TIM_ConfigClockSource(&htim3, &sClockSourceConfig) != HAL_OK)
  {
    Error_Handler();
  }
  sMasterConfig.MasterOutputTrigger = TIM_TRGO_UPDATE;
  sMasterConfig.MasterSlaveMode = TIM_MASTERSLAVEMODE_DISABLE;
  if (HAL_TIMEx_MasterConfigSynchronization(&htim3, &sMasterConfig) != HAL_OK)
  {
    Error_Handler();
  }

}

static void MX_TIM6_Init(void)
{

  htim6.Instance = TIM6;
  htim6.Init.Prescaler = 4800;
  htim6.Init.CounterMode = TIM_COUNTERMODE_UP;
  htim6.Init.Period = 10-1;
  htim6.Init.AutoReloadPreload = TIM_AUTORELOAD_PRELOAD_DISABLE;
  if (HAL_TIM_Base_Init(&htim6) != HAL_OK)
  {
    Error_Handler();
  }

}

static void MX_TIM15_Init(void)
{

  TIM_ClockConfigTypeDef sClockSourceConfig = {0};
  TIM_MasterConfigTypeDef sMasterConfig = {0};

  htim15.Instance = TIM15;
  htim15.Init.Prescaler = 480;
  htim15.Init.CounterMode = TIM_COUNTERMODE_UP;
  htim15.Init.Period = 10000-1;
  htim15.Init.ClockDivision = TIM_CLOCKDIVISION_DIV1;
  htim15.Init.RepetitionCounter = 0;
  htim15.Init.AutoReloadPreload = TIM_AUTORELOAD_PRELOAD_DISABLE;
  if (HAL_TIM_Base_Init(&htim15) != HAL_OK)
  {
    Error_Handler();
  }
  sClockSourceConfig.ClockSource = TIM_CLOCKSOURCE_INTERNAL;
  if (HAL_TIM_ConfigClockSource(&htim15, &sClockSourceConfig) != HAL_OK)
  {
    Error_Handler();
  }
  sMasterConfig.MasterOutputTrigger = TIM_TRGO_UPDATE;
  sMasterConfig.MasterSlaveMode = TIM_MASTERSLAVEMODE_DISABLE;
  if (HAL_TIMEx_MasterConfigSynchronization(&htim15, &sMasterConfig) != HAL_OK)
  {
    Error_Handler();
  }

}

static void MX_USART1_UART_Init(void)
{

  huart1.Instance = USART1;
  huart1.Init.BaudRate = 9600;
  huart1.Init.WordLength = UART_WORDLENGTH_8B;
  huart1.Init.StopBits = UART_STOPBITS_1;
  huart1.Init.Parity = UART_PARITY_NONE;
  huart1.Init.Mode = UART_MODE_TX_RX;
  huart1.Init.HwFlowCtl = UART_HWCONTROL_NONE;
  huart1.Init.OverSampling = UART_OVERSAMPLING_16;
  huart1.Init.OneBitSampling = UART_ONE_BIT_SAMPLE_DISABLE;
  huart1.AdvancedInit.AdvFeatureInit = UART_ADVFEATURE_NO_INIT;
  if (HAL_RS485Ex_Init(&huart1, UART_DE_POLARITY_HIGH, 0, 0) != HAL_OK)
  {
    Error_Handler();
  }

}

static void MX_USART2_UART_Init(void)
{

  huart2.Instance = USART2;
  huart2.Init.BaudRate = 9600;
  huart2.Init.WordLength = UART_WORDLENGTH_8B;
  huart2.Init.StopBits = UART_STOPBITS_1;
  huart2.Init.Parity = UART_PARITY_NONE;
  huart2.Init.Mode = UART_MODE_TX_RX;
  huart2.Init.HwFlowCtl = UART_HWCONTROL_NONE;
  huart2.Init.OverSampling = UART_OVERSAMPLING_16;
  huart2.Init.OneBitSampling = UART_ONE_BIT_SAMPLE_DISABLE;
  huart2.AdvancedInit.AdvFeatureInit = UART_ADVFEATURE_NO_INIT;
  if (HAL_UART_Init(&huart2) != HAL_OK)
  {
    Error_Handler();
  }

}

static void MX_GPIO_Init(void)
{
  GPIO_InitTypeDef GPIO_InitStruct = {0};

  /* GPIO Ports Clock Enable */
  __HAL_RCC_GPIOF_CLK_ENABLE();
  __HAL_RCC_GPIOA_CLK_ENABLE();
  __HAL_RCC_GPIOB_CLK_ENABLE();

  /*Configure GPIO pin Output Level */
  HAL_GPIO_WritePin(GPIOA, C5_Pin|C10_Pin|LED_LOW_Pin, GPIO_PIN_RESET);

  /*Configure GPIO pin Output Level */
  HAL_GPIO_WritePin(GPIOB, R1_Pin|R2_Pin|R3_Pin|C3_Pin
                          |C4_Pin|C6_Pin|C7_Pin|C8_Pin
                          |C9_Pin|R4_Pin|R5_Pin|R6_Pin
                          |R7_Pin|R8_Pin|C1_Pin|C2_Pin, GPIO_PIN_RESET);

  /*Configure GPIO pin Output Level */
  HAL_GPIO_WritePin(OFF_GPIO_Port, OFF_Pin, GPIO_PIN_SET);

  /*Configure GPIO pin Output Level */
  HAL_GPIO_WritePin(TESTPIN_GPIO_Port, TESTPIN_Pin, GPIO_PIN_RESET);

  /*Configure GPIO pins : C5_Pin C10_Pin LED_LOW_Pin */
  GPIO_InitStruct.Pin = C5_Pin|C10_Pin|LED_LOW_Pin;
  GPIO_InitStruct.Mode = GPIO_MODE_OUTPUT_PP;
  GPIO_InitStruct.Pull = GPIO_NOPULL;
  GPIO_InitStruct.Speed = GPIO_SPEED_FREQ_LOW;
  HAL_GPIO_Init(GPIOA, &GPIO_InitStruct);

  /*Configure GPIO pins : R1_Pin R2_Pin R3_Pin C3_Pin
                           C4_Pin C6_Pin C7_Pin C8_Pin
                           C9_Pin R4_Pin R5_Pin R6_Pin
                           R7_Pin R8_Pin C1_Pin C2_Pin */
  GPIO_InitStruct.Pin = R1_Pin|R2_Pin|R3_Pin|C3_Pin
                          |C4_Pin|C6_Pin|C7_Pin|C8_Pin
                          |C9_Pin|R4_Pin|R5_Pin|R6_Pin
                          |R7_Pin|R8_Pin|C1_Pin|C2_Pin;
  GPIO_InitStruct.Mode = GPIO_MODE_OUTPUT_PP;
  GPIO_InitStruct.Pull = GPIO_NOPULL;
  GPIO_InitStruct.Speed = GPIO_SPEED_FREQ_LOW;
  HAL_GPIO_Init(GPIOB, &GPIO_InitStruct);

  /*Configure GPIO pin : OFF_Pin */
  GPIO_InitStruct.Pin = OFF_Pin;
  GPIO_InitStruct.Mode = GPIO_MODE_OUTPUT_OD;
  GPIO_InitStruct.Pull = GPIO_NOPULL;
  GPIO_InitStruct.Speed = GPIO_SPEED_FREQ_LOW;
  HAL_GPIO_Init(OFF_GPIO_Port, &GPIO_InitStruct);

  /*Configure GPIO pin : TESTPIN_Pin */
  GPIO_InitStruct.Pin = TESTPIN_Pin;
  GPIO_InitStruct.Mode = GPIO_MODE_OUTPUT_PP;
  GPIO_InitStruct.Pull = GPIO_NOPULL;
  GPIO_InitStruct.Speed = GPIO_SPEED_FREQ_LOW;
  HAL_GPIO_Init(TESTPIN_GPIO_Port, &GPIO_InitStruct);

}

void Error_Handler(void)
{
  __disable_irq();
  while (1)
  {
  }
}

/************************ (C) COPYRIGHT STMicroelectronics *****END OF FILE****/
